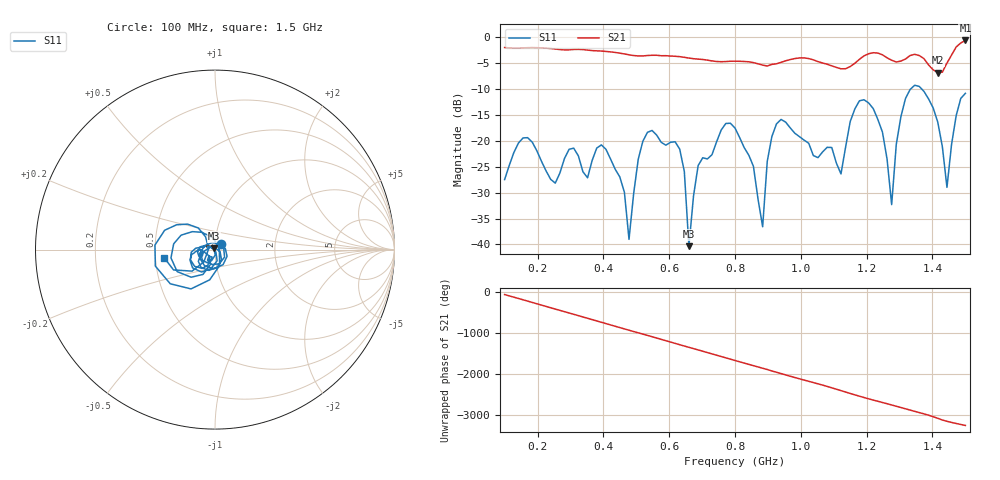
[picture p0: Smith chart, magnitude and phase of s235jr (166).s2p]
! NanoVNA-App
! Date: 2025-09-25 15:05:27
! Start: 100MHz Stop: 1,5GHz Points: 101
! S-Parameter data: F S11 S21 S12 S22
# Hz S RI R 50
!  Frequency  S11_Real  S11_Imag  S21_Real  S21_Imag  S12_Real  S12_Imag  S22_Real  S22_Imag
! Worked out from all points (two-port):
!   101 points, 100 MHz to 1.5 GHz, reference 50 ohm
!   highest |S21| = -0.60 dB at 1.5 GHz (marker M1); lowest = -6.8 dB at 1.416 GHz (marker M2)
!   |S21| within 3 dB of the highest: start of sweep to 602.6 MHz; 1.192 GHz to 1.253 GHz (61.96 MHz wide, 5.07 % of centre) (the widest 2 of 4)
!   lowest |S11| = -40.3 dB at 660 MHz (marker M3), VSWR 1.02, Z = 49.3 + j0.644 ohm
!   |S11| at or under -10 dB: start of sweep to 1.333 GHz; 1.368 GHz to end of sweep
!   S12 and S22 are empty: the file has one direction only
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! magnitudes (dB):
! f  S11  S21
! 100 MHz  -27.5  -2.0
! 156 MHz  -19.4  -2.0
! 338 MHz  -26.0  -2.4
! 408 MHz  -21.6  -2.7
! 478 MHz  -39.0  -3.4
! 520 MHz  -20.1  -3.6
! 576 MHz  -20.3  -3.5
! 632 MHz  -21.6  -3.7
! 660 MHz  -40.3  -4.0
! 688 MHz  -24.8  -4.2
! 800 MHz  -17.5  -4.6
! 884 MHz  -36.6  -5.4
! 926 MHz  -16.7  -5.1
! 1.038 GHz  -22.8  -4.3
! 1.122 GHz  -26.4  -6.1
! 1.192 GHz  -12.1  -3.6
! 1.248 GHz  -18.3  -3.4
! 1.276 GHz  -32.3  -4.4
! 1.332 GHz  -10.1  -3.5
! 1.416 GHz  -16.4  -6.8
! 1.444 GHz  -29.0  -5.0
! 1.5 GHz  -10.8  -0.6
